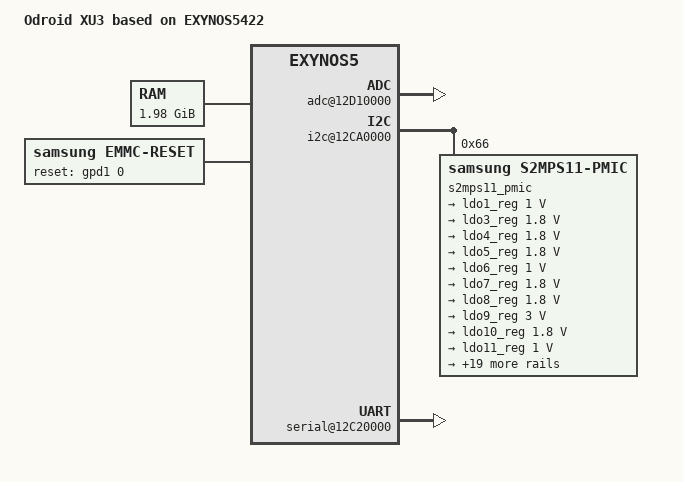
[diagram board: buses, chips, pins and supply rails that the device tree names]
// SPDX-License-Identifier: GPL-2.0+
/*
 * Odroid XU3 device tree source
 *
 * Copyright (c) 2014 Samsung Electronics Co., Ltd.
 *		http://www.samsung.com
 */

/dts-v1/;
#include "exynos54xx.dtsi"

/ {
	model = "Odroid XU3 based on EXYNOS5422";
	compatible = "samsung,odroidxu3", "samsung,exynos5";

	aliases {
		serial0 = "/serial@12C00000";
		console = "/serial@12C20000";
	};

	memory {
		device_type = "memory";
		reg =  <0x40000000 0x10000000
			0x50000000 0x10000000
			0x60000000 0x10000000
			0x70000000 0x10000000
			0x80000000 0x10000000
			0x90000000 0x10000000
			0xa0000000 0x10000000
			0xb0000000 0xea00000>;
	};

	adc@12D10000 {
		u-boot,dm-pre-reloc;
		vdd-supply = <&ldo4_reg>;
		status = "okay";
	};

	i2c@12CA0000 {
		s2mps11_pmic@66 {
			compatible = "samsung,s2mps11-pmic";
			reg = <0x66>;
			voltage-regulators {
				ldo1_reg: LDO1 {
					regulator-name = "vdd_ldo1";
					regulator-min-microvolt = <1000000>;
					regulator-max-microvolt = <1000000>;
					regulator-ramp-delay = <12000>;
					regulator-always-on;
				};

				ldo3_reg: LDO3 {
					regulator-name = "vddq_mmc0";
					regulator-min-microvolt = <1800000>;
					regulator-max-microvolt = <1800000>;
					regulator-ramp-delay = <12000>;
				};

				ldo4_reg: LDO4 {
					regulator-name = "vdd_adc";
					regulator-min-microvolt = <1800000>;
					regulator-max-microvolt = <1800000>;
					regulator-ramp-delay = <12000>;
				};

				ldo5_reg: LDO5 {
					regulator-name = "vdd_ldo5";
					regulator-min-microvolt = <1800000>;
					regulator-max-microvolt = <1800000>;
					regulator-ramp-delay = <12000>;
					regulator-always-on;
				};

				ldo6_reg: LDO6 {
					regulator-name = "vdd_ldo6";
					regulator-min-microvolt = <1000000>;
					regulator-max-microvolt = <1000000>;
					regulator-ramp-delay = <12000>;
					regulator-always-on;
				};

				ldo7_reg: LDO7 {
					regulator-name = "vdd_ldo7";
					regulator-min-microvolt = <1800000>;
					regulator-max-microvolt = <1800000>;
					regulator-ramp-delay = <12000>;
					regulator-always-on;
				};

				ldo8_reg: LDO8 {
					regulator-name = "vdd_ldo8";
					regulator-min-microvolt = <1800000>;
					regulator-max-microvolt = <1800000>;
					regulator-ramp-delay = <12000>;
					regulator-always-on;
				};

				ldo9_reg: LDO9 {
					regulator-name = "vdd_ldo9";
					regulator-min-microvolt = <3000000>;
					regulator-max-microvolt = <3000000>;
					regulator-ramp-delay = <12000>;
					regulator-always-on;
				};

				ldo10_reg: LDO10 {
					regulator-name = "vdd_ldo10";
					regulator-min-microvolt = <1800000>;
					regulator-max-microvolt = <1800000>;
					regulator-ramp-delay = <12000>;
					regulator-always-on;
				};

				ldo11_reg: LDO11 {
					regulator-name = "vdd_ldo11";
					regulator-min-microvolt = <1000000>;
					regulator-max-microvolt = <1000000>;
					regulator-ramp-delay = <12000>;
					regulator-always-on;
				};

				ldo12_reg: LDO12 {
					regulator-name = "vdd_ldo12";
					regulator-min-microvolt = <1800000>;
					regulator-max-microvolt = <1800000>;
					regulator-ramp-delay = <12000>;
					regulator-always-on;
				};

				ldo13_reg: LDO13 {
					regulator-name = "vddq_mmc2";
					regulator-min-microvolt = <2800000>;
					regulator-max-microvolt = <2800000>;
					regulator-ramp-delay = <12000>;
				};

				ldo15_reg: LDO15 {
					regulator-name = "vdd_ldo15";
					regulator-min-microvolt = <3300000>;
					regulator-max-microvolt = <3300000>;
					regulator-ramp-delay = <12000>;
					regulator-always-on;
				};

				ldo16_reg: LDO16 {
					regulator-name = "vdd_ldo16";
					regulator-min-microvolt = <2200000>;
					regulator-max-microvolt = <2200000>;
					regulator-ramp-delay = <12000>;
					regulator-always-on;
				};

				ldo17_reg: LDO17 {
					regulator-name = "vdd_ldo17";
					regulator-min-microvolt = <3300000>;
					regulator-max-microvolt = <3300000>;
					regulator-ramp-delay = <12000>;
					regulator-always-on;
				};

				ldo18_reg: LDO18 {
					regulator-name = "vdd_emmc_1V8";
					regulator-min-microvolt = <1800000>;
					regulator-max-microvolt = <1800000>;
					regulator-ramp-delay = <12000>;
				};

				ldo19_reg: LDO19 {
					regulator-name = "vdd_sd";
					regulator-min-microvolt = <2800000>;
					regulator-max-microvolt = <2800000>;
					regulator-ramp-delay = <12000>;
				};

				ldo24_reg: LDO24 {
					regulator-name = "tsp_io";
					regulator-min-microvolt = <2800000>;
					regulator-max-microvolt = <2800000>;
					regulator-ramp-delay = <12000>;
					regulator-always-on;
				};

				ldo26_reg: LDO26 {
					regulator-name = "vdd_ldo26";
					regulator-min-microvolt = <3000000>;
					regulator-max-microvolt = <3000000>;
					regulator-ramp-delay = <12000>;
					regulator-always-on;
				};

				buck1_reg: BUCK1 {
					regulator-name = "vdd_mif";
					regulator-min-microvolt = <800000>;
					regulator-max-microvolt = <1300000>;
					regulator-always-on;
					regulator-boot-on;
				};

				buck2_reg: BUCK2 {
					regulator-name = "vdd_arm";
					regulator-min-microvolt = <800000>;
					regulator-max-microvolt = <1500000>;
					regulator-always-on;
					regulator-boot-on;
				};

				buck3_reg: BUCK3 {
					regulator-name = "vdd_int";
					regulator-min-microvolt = <800000>;
					regulator-max-microvolt = <1400000>;
					regulator-always-on;
					regulator-boot-on;
				};

				buck4_reg: BUCK4 {
					regulator-name = "vdd_g3d";
					regulator-min-microvolt = <800000>;
					regulator-max-microvolt = <1400000>;
					regulator-always-on;
					regulator-boot-on;
				};

				buck5_reg: BUCK5 {
					regulator-name = "vdd_mem";
					regulator-min-microvolt = <800000>;
					regulator-max-microvolt = <1400000>;
					regulator-always-on;
					regulator-boot-on;
				};

				buck6_reg: BUCK6 {
					regulator-name = "vdd_kfc";
					regulator-min-microvolt = <800000>;
					regulator-max-microvolt = <1500000>;
					regulator-always-on;
					regulator-boot-on;
				};

				buck7_reg: BUCK7 {
					regulator-name = "vdd_1.0v_ldo";
					regulator-min-microvolt = <800000>;
					regulator-max-microvolt = <1500000>;
					regulator-always-on;
					regulator-boot-on;
				};

				buck8_reg: BUCK8 {
					regulator-name = "vdd_1.8v_ldo";
					regulator-min-microvolt = <800000>;
					regulator-max-microvolt = <1500000>;
					regulator-always-on;
					regulator-boot-on;
				};

				buck9_reg: BUCK9 {
					regulator-name = "vdd_2.8v_ldo";
					regulator-min-microvolt = <3000000>;
					regulator-max-microvolt = <3750000>;
					regulator-always-on;
					regulator-boot-on;
				};

				buck10_reg: BUCK10 {
					regulator-name = "vdd_vmem";
					regulator-min-microvolt = <2850000>;
					regulator-max-microvolt = <2850000>;
					regulator-always-on;
					regulator-boot-on;
				};
			};
		};
	};

	ehci@12110000 {
		samsung,vbus-gpio = <&gpx2 6 GPIO_ACTIVE_HIGH>;
	};

	serial@12C20000 {
		status = "okay";
	};

	mmc@12200000 {
		fifoth_val = <0x201f0020>;
	};

	mmc@12220000 {
		fifoth_val = <0x201f0020>;
	};

	emmc-reset {
		compatible = "samsung,emmc-reset";
		reset-gpio = <&gpd1 0 0>;
	};
};
